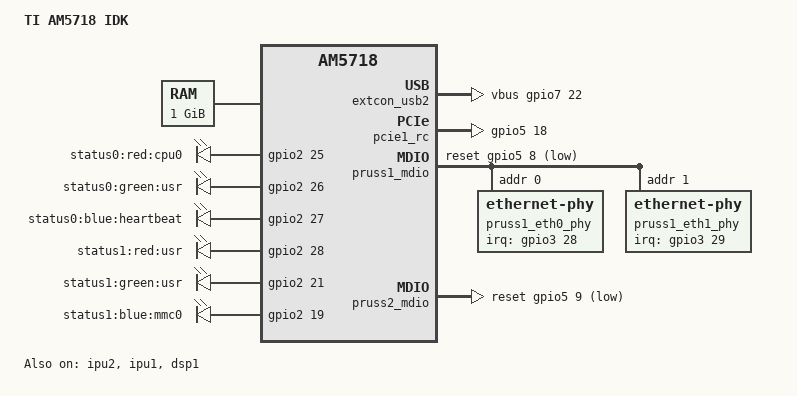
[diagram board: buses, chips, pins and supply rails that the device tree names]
// SPDX-License-Identifier: GPL-2.0-only
/*
 * Copyright (C) 2015-2016 Texas Instruments Incorporated - https://www.ti.com/
 */
/dts-v1/;

#include "am5718.dtsi"
#include <dt-bindings/gpio/gpio.h>
#include <dt-bindings/interrupt-controller/irq.h>
#include "dra7-mmc-iodelay.dtsi"
#include "dra72x-mmc-iodelay.dtsi"
#include "am57xx-idk-common.dtsi"
#include "dra7-ipu-dsp-common.dtsi"

/ {
	model = "TI AM5718 IDK";
	compatible = "ti,am5718-idk", "ti,am5718", "ti,dra7";

	memory@80000000 {
		device_type = "memory";
		reg = <0x0 0x80000000 0x0 0x40000000>;
	};

	reserved-memory {
		#address-cells = <2>;
		#size-cells = <2>;
		ranges;

		ipu2_memory_region: ipu2-memory@95800000 {
			compatible = "shared-dma-pool";
			reg = <0x0 0x95800000 0x0 0x3800000>;
			reusable;
			status = "okay";
		};

		dsp1_memory_region: dsp1-memory@99000000 {
			compatible = "shared-dma-pool";
			reg = <0x0 0x99000000 0x0 0x4000000>;
			reusable;
			status = "okay";
		};

		ipu1_memory_region: ipu1-memory@9d000000 {
			compatible = "shared-dma-pool";
			reg = <0x0 0x9d000000 0x0 0x2000000>;
			reusable;
			status = "okay";
		};
	};

	leds {
		compatible = "gpio-leds";
		cpu0-led {
			label = "status0:red:cpu0";
			gpios = <&gpio2 25 GPIO_ACTIVE_HIGH>;
			default-state = "off";
			linux,default-trigger = "cpu0";
		};

		usr0-led {
			label = "status0:green:usr";
			gpios = <&gpio2 26 GPIO_ACTIVE_HIGH>;
			default-state = "off";
		};

		heartbeat-led {
			label = "status0:blue:heartbeat";
			gpios = <&gpio2 27 GPIO_ACTIVE_HIGH>;
			default-state = "off";
			linux,default-trigger = "heartbeat";
		};

		usr1-led {
			label = "status1:red:usr";
			gpios = <&gpio2 28 GPIO_ACTIVE_HIGH>;
			default-state = "off";
		};

		usr2-led {
			label = "status1:green:usr";
			gpios = <&gpio2 21 GPIO_ACTIVE_HIGH>;
			default-state = "off";
		};

		mmc0-led {
			label = "status1:blue:mmc0";
			gpios = <&gpio2 19 GPIO_ACTIVE_HIGH>;
			default-state = "off";
			linux,default-trigger = "mmc0";
		};
	};

	idk-leds {
		status = "disabled";
		compatible = "gpio-leds";
		red0-led {
			label = "idk:red0";
			gpios = <&gpio6 19 GPIO_ACTIVE_HIGH>;
			default-state = "off";
		};

		green0-led {
			label = "idk:green0";
			gpios = <&gpio4 0 GPIO_ACTIVE_HIGH>;
			default-state = "off";
		};

		blue0-led {
			label = "idk:blue0";
			gpios = <&gpio1 4 GPIO_ACTIVE_HIGH>;
			default-state = "off";
		};

		red1-led {
			label = "idk:red1";
			gpios = <&gpio6 7 GPIO_ACTIVE_HIGH>;
			default-state = "off";
		};

		green1-led {
			label = "idk:green1";
			gpios = <&gpio2 29 GPIO_ACTIVE_HIGH>;
			default-state = "off";
		};

		blue1-led {
			label = "idk:blue1";
			gpios = <&gpio1 5 GPIO_ACTIVE_HIGH>;
			default-state = "off";
		};

		red2-led {
			label = "idk:red2";
			gpios = <&gpio7 9 GPIO_ACTIVE_HIGH>;
			default-state = "off";
		};

		green2-led {
			label = "idk:green2";
			gpios = <&gpio7 8 GPIO_ACTIVE_HIGH>;
			default-state = "off";
		};

		blue2-led {
			label = "idk:blue2";
			gpios = <&gpio7 10 GPIO_ACTIVE_HIGH>;
			default-state = "off";
		};

		red3-led {
			label = "idk:red3";
			gpios = <&gpio7 11 GPIO_ACTIVE_HIGH>;
			default-state = "off";
		};

		green3-led {
			label = "idk:green3";
			gpios = <&gpio7 25 GPIO_ACTIVE_HIGH>;
			default-state = "off";
		};

		blue3-led {
			label = "idk:blue3";
			gpios = <&gpio7 24 GPIO_ACTIVE_HIGH>;
			default-state = "off";
		};
	};

	/* Dual mac ethernet application node on icss1 */
	pruss1-eth {
		compatible = "ti,am57-prueth";
		ti,prus = <&pru1_0>, <&pru1_1>;
		ti,pruss-gp-mux-sel = <0>,	/* GP, default */
				<4>;	/* MII2, for PRUSS1_MII1 */
		sram = <&ocmcram1>;
		ti,mii-rt = <&pruss1_mii_rt>;
		ti,iep = <&pruss1_iep>;
		ti,ecap = <&pruss1_ecap>;
		interrupts = <20 2 2>, <21 3 3>;
		interrupt-names = "rx_hp", "rx_lp";
		interrupt-parent = <&pruss1_intc>;

		ethernet-ports {
			#address-cells = <1>;
			#size-cells = <0>;
			pruss1_emac0: ethernet-port@0 {
				reg = <0>;
				phy-handle = <&pruss1_eth0_phy>;
				phy-mode = "mii";
				interrupts = <20 2 2>, <26 6 6>, <23 6 6>;
				interrupt-names = "rx", "emac_ptp_tx",
						"hsr_ptp_tx";
				/* Filled in by bootloader */
				local-mac-address = [00 00 00 00 00 00];
			};

			pruss1_emac1: ethernet-port@1 {
				reg = <1>;
				phy-handle = <&pruss1_eth1_phy>;
				phy-mode = "mii";
				interrupts = <21 3 3>, <27 9 7>, <24 9 7>;
				interrupt-names = "rx", "emac_ptp_tx",
						"hsr_ptp_tx";
				/* Filled in by bootloader */
				local-mac-address = [00 00 00 00 00 00];
			};
		};
	};
};

&pruss1_iep {
	interrupt-parent = <&pruss1_intc>;
	interrupts = <7 7 8>;
	interrupt-names = "iep_cap_cmp";
};

&extcon_usb2 {
	id-gpios = <&gpio5 7 GPIO_ACTIVE_HIGH>;
	vbus-gpios = <&gpio7 22 GPIO_ACTIVE_HIGH>;
};

&sn65hvs882 {
	load-gpios = <&gpio2 23 GPIO_ACTIVE_LOW>;
};

&ipu2 {
	status = "okay";
	memory-region = <&ipu2_memory_region>;
};

&ipu1 {
	status = "okay";
	memory-region = <&ipu1_memory_region>;
};

&dsp1 {
	status = "okay";
	memory-region = <&dsp1_memory_region>;
};

&pcie1_rc {
	status = "okay";
	gpios = <&gpio5 18 GPIO_ACTIVE_HIGH>;
};

&mmc1 {
	pinctrl-names = "default", "hs";
	pinctrl-0 = <&mmc1_pins_default_no_clk_pu>;
	pinctrl-1 = <&mmc1_pins_hs>;
};

&mmc2 {
	pinctrl-names = "default", "hs", "ddr_3_3v";
	pinctrl-0 = <&mmc2_pins_default>;
	pinctrl-1 = <&mmc2_pins_hs>;
	pinctrl-2 = <&mmc2_pins_ddr_rev20 &mmc2_iodelay_ddr_conf>;
};

&pruss1_mdio {
	status = "okay";
	reset-gpios = <&gpio5 8 GPIO_ACTIVE_LOW>;
	reset-delay-us = <2>;   /* PHY datasheet states 1uS min */
	#address-cells = <1>;
	#size-cells = <0>;

	pruss1_eth0_phy: ethernet-phy@0 {
		reg = <0>;
		interrupt-parent = <&gpio3>;
		interrupts = <28 IRQ_TYPE_LEVEL_LOW>;
	};

	pruss1_eth1_phy: ethernet-phy@1 {
		reg = <1>;
		interrupt-parent = <&gpio3>;
		interrupts = <29 IRQ_TYPE_LEVEL_LOW>;
	};
};

&pruss2_mdio {
	reset-gpios = <&gpio5 9 GPIO_ACTIVE_LOW>;
	reset-delay-us = <2>;   /* PHY datasheet states 1uS min */
};

&pruss2_eth {
	ti,pruss-gp-mux-sel = <4>,      /* MII2, needed for PRUSS1_MII0 */
			      <4>;      /* MII2, needed for PRUSS1_MII1 */
};
